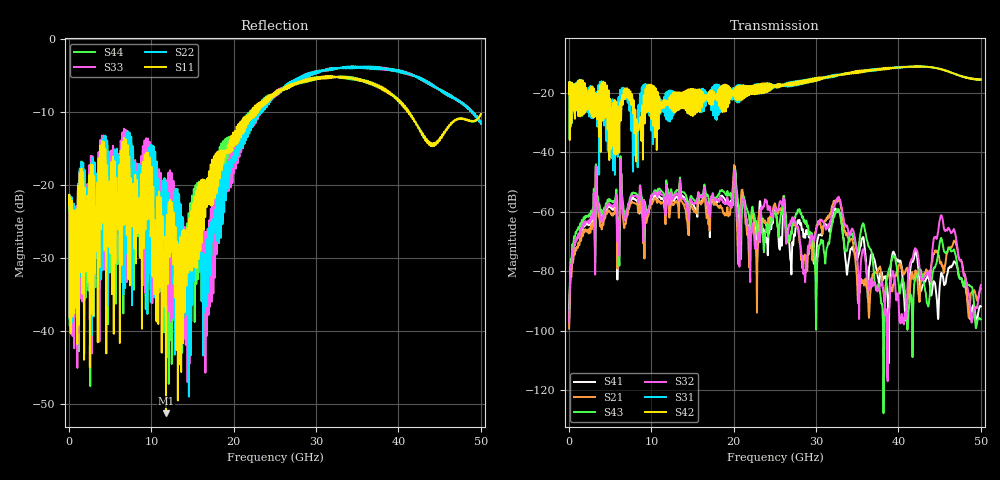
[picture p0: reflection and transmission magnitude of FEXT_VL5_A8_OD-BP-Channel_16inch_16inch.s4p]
#	Hz	S	RI	R	50
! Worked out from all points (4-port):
!   2500 points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, 20 MHz to 50 GHz, reference 50 ohm
!   strongest paths, dB at 20 MHz, 12.52 GHz, 25.02 GHz, 37.52 GHz, 50 GHz:
!     S42: -20.3, -25.9, -17.8, -11.9, -15.4
!     S31: -20.3, -21.3, -18.1, -12.0, -15.5
!     S32: -97.1, -55.6, -58.6, -86.3, -84.7
!     S43: -94.9, -54.2, -60.1, -84.9, -96.2
!     S21: -99.3, -57.4, -57.2, -79.5, -85.9
!     S41: -96.9, -55.8, -59.1, -82.3, -91.8
!   lowest |S11| = -51.3 dB at 11.78 GHz (marker M1), VSWR 1.01, Z = 49.7 - j0.0585 ohm
!   |S11| at or under -10 dB: start of sweep to 22.14 GHz; 22.2 GHz to 22.33 GHz (127.1 MHz wide, 0.571 % of centre); 41.23 GHz to end of sweep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
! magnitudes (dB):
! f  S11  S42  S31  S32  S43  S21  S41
! 20 MHz  -22.8  -20.3  -20.3  -97.1  -94.9  -99.3  -96.9
! 3.48 GHz  -29.3  -23.2  -29.8  -56.6  -54.8  -58.1  -56.2
! 11.78 GHz  -51.3  -24.0  -21.4  -52.6  -51.2  -53.2  -51.5
! 26.62 GHz  -6.3  -16.6  -16.6  -66.6  -70.2  -70.3  -69.6
! 32.7 GHz  -5.2  -13.9  -13.8  -55.1  -59.1  -55.9  -59.6
! 35.12 GHz  -5.7  -13.2  -12.9  -80.8  -72.4  -90.7  -74.9
! 50 GHz  -10.3  -15.4  -15.5  -84.7  -96.2  -85.9  -91.8
